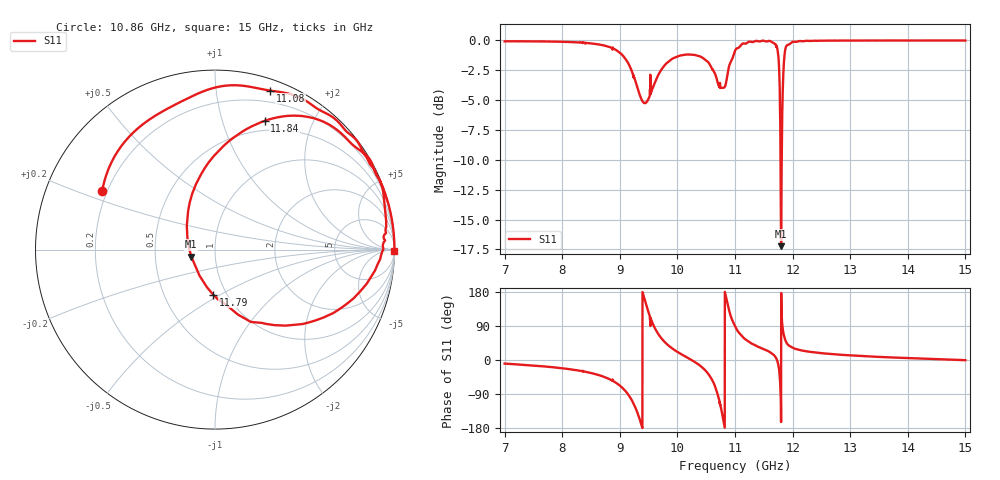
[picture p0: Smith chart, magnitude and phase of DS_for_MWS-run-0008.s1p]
! TOUCHSTONE file generated by CST DESIGN STUDIO
! Date and time: Mon Feb 10 16:55:56 2025
! Project name: C:\Work\MatlabApps\UnitCellType2OptimizationMatlab\CST\unitcell.cst
! Tree item: Tasks\Sweep1\SPara1\S-Parameters
! Header version: 2024
! Port assignment regex: !\s*Touchstone port\s*([0-9]+)\s*=\s*(CST MWS port|CST DES external port|CST DES block port)\s*(.+)\s* \(\"(.*)\"\)(\s*mode\s*([0-9]+))?.*
! Touchstone port assignment:
! Touchstone port 1 = CST DES external port 1 ("")
# GHz S MA R 50
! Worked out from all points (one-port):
!   4001 points, 7 GHz to 15 GHz, reference 50 ohm
!   lowest |S11| = -17.2 dB at 11.8 GHz (marker M1), VSWR 1.32, Z = 38.2 - j3.01 ohm
!   |S11| at or under -10 dB: 11.79003 GHz to 11.81095 GHz (20.92 MHz wide, 0.177 % of centre)
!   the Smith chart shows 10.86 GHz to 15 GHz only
!   S11 on the Smith chart (normalised r, x): 10.86 GHz: 0.18, +0.23; 11.08 GHz: 0.10, +1.40; 11.79 GHz: 0.86, -0.46; 11.84 GHz: 0.39, +1.38; 15 GHz: open
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7  0.9914 -9.5
8  0.9873 -21.8
8.644  0.9617 -40.2
9  0.8887 -67.5
9.212  0.7399 -107.1
9.392  0.5576 -179.6
9.508  0.5779 121.3
9.612  0.6685 83.2
9.788  0.7915 46.1
10  0.8568 21.4
10.434  0.8473 -20.1
10.564  0.7914 -42.8
10.67  0.7076 -77.0
10.758  0.6326 -126.8
10.864  0.7078 152.8
11  0.9048 89.5
11.076  0.938 70.8
11.282  0.9861 43.9
11.69  0.9687 10.5
11.758  0.8293 -17.8
11.794  0.251 -92.4
11.8  0.1377 -163.7
11.844  0.7683 69.0
11.902  0.9544 43.6
12  0.9872 32.5
13  0.9987 12.2
14  0.9998 5.0
15  0.9992 -0.5
